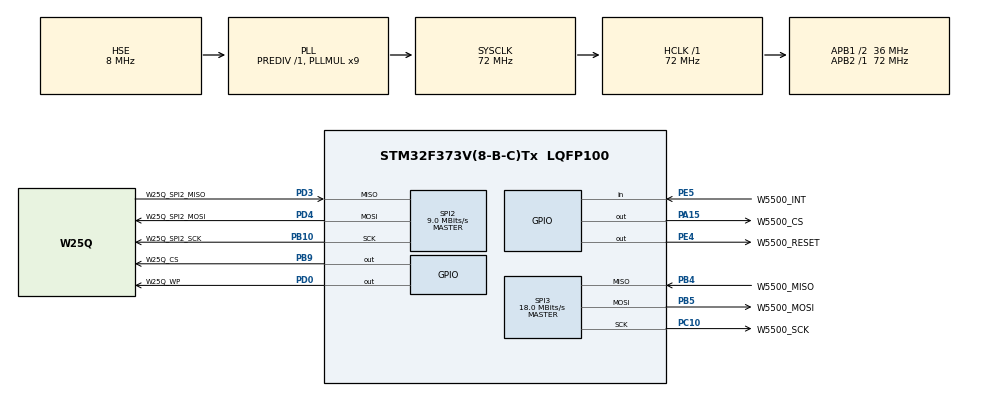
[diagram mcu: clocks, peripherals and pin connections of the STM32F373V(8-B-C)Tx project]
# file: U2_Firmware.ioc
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Mcu.Family=STM32F3
Mcu.Name=STM32F373V(8-B-C)Tx
Mcu.Package=LQFP100
NVIC.PriorityGroup=NVIC_PRIORITYGROUP_4
PA13.Mode=Trace_Asynchronous_SW
PA13.Signal=SYS_JTMS-SWDIO
PA14.Mode=Trace_Asynchronous_SW
PA14.Signal=SYS_JTCK-SWCLK
PA15.GPIO_Label=W5500_CS
PA15.GPIO_PuPd=GPIO_PULLUP
PA15.PinState=GPIO_PIN_SET
PA15.Signal=GPIO_Output
PB10.GPIO_Label=W25Q_SPI2_SCK
PB10.Mode=Full_Duplex_Master
PB10.Signal=SPI2_SCK
PB3.Mode=Trace_Asynchronous_SW
PB3.Signal=SYS_JTDO-TRACESWO
PB4.GPIO_Label=W5500_MISO
PB4.GPIO_PuPd=GPIO_PULLUP
PB4.Mode=Full_Duplex_Master
PB4.Signal=SPI3_MISO
PB5.GPIO_Label=W5500_MOSI
PB5.GPIO_PuPd=GPIO_PULLUP
PB5.Mode=Full_Duplex_Master
PB5.Signal=SPI3_MOSI
PB9.GPIO_Label=W25Q_CS
PB9.GPIO_PuPd=GPIO_PULLUP
PB9.GPIO_Speed=GPIO_SPEED_FREQ_HIGH
PB9.PinState=GPIO_PIN_SET
PB9.Signal=GPIO_Output
PC10.GPIO_Label=W5500_SCK
PC10.GPIO_PuPd=GPIO_PULLUP
PC10.Mode=Full_Duplex_Master
PC10.Signal=SPI3_SCK
PD0.GPIO_Label=W25Q_WP
PD0.GPIO_PuPd=GPIO_PULLDOWN
PD0.GPIO_Speed=GPIO_SPEED_FREQ_HIGH
PD0.Signal=GPIO_Output
PD3.GPIO_Label=W25Q_SPI2_MISO
PD3.Mode=Full_Duplex_Master
PD3.Signal=SPI2_MISO
PD4.GPIO_Label=W25Q_SPI2_MOSI
PD4.Mode=Full_Duplex_Master
PD4.Signal=SPI2_MOSI
PE4.GPIO_Label=W5500_RESET
PE4.GPIO_PuPd=GPIO_PULLUP
PE4.PinState=GPIO_PIN_SET
PE4.Signal=GPIO_Output
PE5.GPIO_Label=W5500_INT
PE5.Signal=GPIO_Input
PF0-OSC_IN.Mode=HSE-External-Oscillator
PF0-OSC_IN.Signal=RCC_OSC_IN
PF1-OSC_OUT.Mode=HSE-External-Oscillator
PF1-OSC_OUT.Signal=RCC_OSC_OUT
ProjectManager.HeapSize=0x200
ProjectManager.StackSize=0x400
ProjectManager.TargetToolchain=SW4STM32
RCC.ADCPresc=RCC_ADC1PCLK2_DIV2
RCC.AHBCLKDivider=RCC_SYSCLK_DIV1
RCC.AHBFreq_Value=72000000
RCC.APB1CLKDivider=RCC_HCLK_DIV2
RCC.APB1Freq_Value=36000000
RCC.APB1TimFreq_Value=72000000
RCC.APB2CLKDivider=RCC_HCLK_DIV1
RCC.APB2Freq_Value=72000000
RCC.APB2TimFreq_Value=72000000
RCC.CortexFreq_Value=72000000
RCC.Cortex_Div=SYSTICK_CLKSOURCE_HCLK
RCC.HCLKFreq_Value=72000000
RCC.HSE_Timout=100
RCC.HSE_VALUE=8000000
RCC.HSI_VALUE=8000000
RCC.LSE_VALUE=32768
RCC.OscillatorTypeHSI=RCC_OSCILLATORTYPE_HSI
RCC.PLLMUL=RCC_PLL_MUL9
RCC.PLLSourceVirtual=RCC_PLLSOURCE_HSE
RCC.PRESCALERUSB=RCC_USBCLKSOURCE_PLL
RCC.RCC_PLLsource_Clock_Source_FROM_HSE=RCC_HSE_PREDIV_DIV1
RCC.SDADCPresc=RCC_SDADCSYSCLK_DIV12
RCC.SYSCLKFreq_VALUE=72000000
RCC.SYSCLKSource=RCC_SYSCLKSOURCE_PLLCLK
RCC.USBFreq_Value=72000000
RCC.VDD_VALUE=3.3
SPI2.BaudRatePrescaler=SPI_BAUDRATEPRESCALER_4
SPI2.CalculateBaudRate=9.0 MBits/s
SPI2.DataSize=SPI_DATASIZE_8BIT
SPI2.Direction=SPI_DIRECTION_2LINES
SPI2.Mode=SPI_MODE_MASTER
SPI2.VirtualType=VM_MASTER
SPI3.BaudRatePrescaler=SPI_BAUDRATEPRESCALER_2
SPI3.CalculateBaudRate=18.0 MBits/s
SPI3.DataSize=SPI_DATASIZE_8BIT
SPI3.Direction=SPI_DIRECTION_2LINES
SPI3.Mode=SPI_MODE_MASTER
SPI3.NSSPMode=SPI_NSS_PULSE_DISABLE
SPI3.VirtualType=VM_MASTER
board=U2_Firmware

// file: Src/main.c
/**
  ******************************************************************************
  * File Name          : main.c
  * Description        : Main program body
  ******************************************************************************
  *
  * COPYRIGHT(c) 2017 STMicroelectronics
  *
  * Redistribution and use in source and binary forms, with or without modification,
  * are permitted provided that the following conditions are met:
  *   1. Redistributions of source code must retain the above copyright notice,
  *      this list of conditions and the following disclaimer.
  *   2. Redistributions in binary form must reproduce the above copyright notice,
  *      this list of conditions and the following disclaimer in the documentation
  *      and/or other materials provided with the distribution.
  *   3. Neither the name of STMicroelectronics nor the names of its contributors
  *      may be used to endorse or promote products derived from this software
  *      without specific prior written permission.
  *
  * THIS SOFTWARE IS PROVIDED BY THE COPYRIGHT HOLDERS AND CONTRIBUTORS "AS IS"
  * AND ANY EXPRESS OR IMPLIED WARRANTIES, INCLUDING, BUT NOT LIMITED TO, THE
  * IMPLIED WARRANTIES OF MERCHANTABILITY AND FITNESS FOR A PARTICULAR PURPOSE ARE
  * DISCLAIMED. IN NO EVENT SHALL THE COPYRIGHT HOLDER OR CONTRIBUTORS BE LIABLE
  * FOR ANY DIRECT, INDIRECT, INCIDENTAL, SPECIAL, EXEMPLARY, OR CONSEQUENTIAL
  * DAMAGES (INCLUDING, BUT NOT LIMITED TO, PROCUREMENT OF SUBSTITUTE GOODS OR
  * SERVICES; LOSS OF USE, DATA, OR PROFITS; OR BUSINESS INTERRUPTION) HOWEVER
  * CAUSED AND ON ANY THEORY OF LIABILITY, WHETHER IN CONTRACT, STRICT LIABILITY,
  * OR TORT (INCLUDING NEGLIGENCE OR OTHERWISE) ARISING IN ANY WAY OUT OF THE USE
  * OF THIS SOFTWARE, EVEN IF ADVISED OF THE POSSIBILITY OF SUCH DAMAGE.
  *
  ******************************************************************************
  */
#include "main.h"
#include "stm32f3xx_hal.h"
#include "spi.h"
#include "gpio.h"

/* USER CODE BEGIN Includes */
#include "FLASH.h"
#include "GlobalData_U2.h"
#include "socket.h"
#include "dhcp.h"
#include "httpServer.h"
#include "httpParser.h"
#include "httpUtil.h"
#include "W25Q.h"
#include "ftpd.h"
#include "Network.h"
/* USER CODE END Includes */

/* USER CODE BEGIN PV */
/* Private variables ---------------------------------------------------------*/
/* USER CODE END PV */

void SystemClock_Config(void);
void Error_Handler(void);
/* USER CODE BEGIN PFP */
/* Private function prototypes -----------------------------------------------*/
/* USER CODE END PFP */

int main(void)
{

  /* USER CODE BEGIN 1 */
 	__enable_irq();
	strcpy((char *)&NETWORK.FTP.Login,"Anton");
	strcpy((char *)&NETWORK.FTP.Password,"123");
  /* USER CODE END 1 */

  /* MCU Configuration----------------------------------------------------------*/

  /* Reset of all peripherals, Initializes the Flash interface and the Systick. */
  HAL_Init();

  /* Configure the system clock */
  SystemClock_Config();

  /* Initialize all configured peripherals */
  MX_GPIO_Init();
  MX_SPI3_Init();
  MX_SPI2_Init();

  /* USER CODE BEGIN 2 */
   ////////////////////////////////////////////////////////////////////////////////////////////////////
   // First of all, Should register SPI callback functions implemented by user for accessing WIZCHIP //
   ////////////////////////////////////////////////////////////////////////////////////////////////////
	__HAL_SPI_ENABLE(&hspi3);
	__HAL_SPI_ENABLE(&hspi2);

	HAL_GPIO_WritePin(W25Q_WP_GPIO_Port, W25Q_WP_Pin, GPIO_PIN_RESET);

//	printf("\r\nPROGRAMM 1\r\n");
//	W25Q_EraseChip_Wait_Busy();
	Network_Init();
  /* USER CODE END 2 */

  /* Infinite loop */
  /* USER CODE BEGIN WHILE */
  while (1)
  {
		Network_Routine();
		if(NETWORK.f_Download_Firmware){
			NETWORK.f_Download_Firmware=0;
			Reset_MCU();
			#ifdef _NETWORK_DEBUG_
			printf("\r\nJump To Bootloader\r\n");
			#endif
			JumpToAddrFlash(ADDR_FLASH_PAGE_BOOTLOADER);
		}
  /* USER CODE END WHILE */

  }

}

/** System Clock Configuration
*/
void SystemClock_Config(void)
{

  RCC_OscInitTypeDef RCC_OscInitStruct;
  RCC_ClkInitTypeDef RCC_ClkInitStruct;

    /**Initializes the CPU, AHB and APB busses clocks
    */
  RCC_OscInitStruct.OscillatorType = RCC_OSCILLATORTYPE_HSE;
  RCC_OscInitStruct.HSEState = RCC_HSE_ON;
  RCC_OscInitStruct.HSEPredivValue = RCC_HSE_PREDIV_DIV1;
  RCC_OscInitStruct.HSIState = RCC_HSI_ON;
  RCC_OscInitStruct.PLL.PLLState = RCC_PLL_ON;
  RCC_OscInitStruct.PLL.PLLSource = RCC_PLLSOURCE_HSE;
  RCC_OscInitStruct.PLL.PLLMUL = RCC_PLL_MUL9;
  if (HAL_RCC_OscConfig(&RCC_OscInitStruct) != HAL_OK)
  {
    Error_Handler();
  }

    /**Initializes the CPU, AHB and APB busses clocks
    */
  RCC_ClkInitStruct.ClockType = RCC_CLOCKTYPE_HCLK|RCC_CLOCKTYPE_SYSCLK
                              |RCC_CLOCKTYPE_PCLK1|RCC_CLOCKTYPE_PCLK2;
  RCC_ClkInitStruct.SYSCLKSource = RCC_SYSCLKSOURCE_PLLCLK;
  RCC_ClkInitStruct.AHBCLKDivider = RCC_SYSCLK_DIV1;
  RCC_ClkInitStruct.APB1CLKDivider = RCC_HCLK_DIV2;
  RCC_ClkInitStruct.APB2CLKDivider = RCC_HCLK_DIV1;

  if (HAL_RCC_ClockConfig(&RCC_ClkInitStruct, FLASH_LATENCY_2) != HAL_OK)
  {
    Error_Handler();
  }

    /**Configure the Systick interrupt time
    */
  HAL_SYSTICK_Config(HAL_RCC_GetHCLKFreq()/1000);

    /**Configure the Systick
    */
  HAL_SYSTICK_CLKSourceConfig(SYSTICK_CLKSOURCE_HCLK);

  /* SysTick_IRQn interrupt configuration */
  HAL_NVIC_SetPriority(SysTick_IRQn, 0, 0);
}

void Error_Handler(void)
{
  /* USER CODE BEGIN Error_Handler */
  /* User   can add his own implementation to report the HAL error return state */
  while(1)
  {
  }
  /* USER CODE END Error_Handler */
}

#ifdef USE_FULL_ASSERT

/**
   * @brief Reports the name of the source file and the source line number
   * where the assert_param error has occurred.
   * @param file: pointer to the source file name
   * @param line: assert_param error line source number
   * @retval None
   */
void assert_failed(uint8_t* file, uint32_t line)
{
  /* USER CODE BEGIN 6 */
  /* User can add his own implementation to report the file name and line number,
    ex: printf("Wrong parameters value: file %s on line %d\r\n", file, line) */
	printf("Wrong parameters value: file %s on line %d\r\n", file, line);
  /* USER CODE END 6 */

}

#endif

/************************ (C) COPYRIGHT STMicroelectronics *****END OF FILE****/
